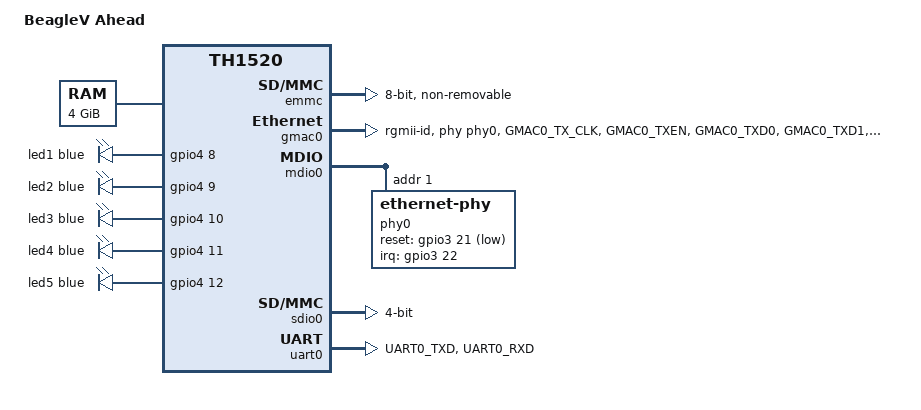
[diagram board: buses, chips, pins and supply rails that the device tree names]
// SPDX-License-Identifier: (GPL-2.0 OR MIT)
/*
 * Copyright (C) 2023 Jisheng Zhang <jszhang@kernel.org>
 * Copyright (C) 2023 Drew Fustini <dfustini@baylibre.com>
 */

/dts-v1/;

#include "th1520.dtsi"
#include <dt-bindings/gpio/gpio.h>
#include <dt-bindings/leds/common.h>

/ {
	model = "BeagleV Ahead";
	compatible = "beagle,beaglev-ahead", "thead,th1520";

	aliases {
		ethernet0 = &gmac0;
		gpio0 = &gpio0;
		gpio1 = &gpio1;
		gpio2 = &gpio2;
		gpio3 = &gpio3;
		gpio4 = &gpio4;
		gpio5 = &aogpio;
		serial0 = &uart0;
		serial1 = &uart1;
		serial2 = &uart2;
		serial3 = &uart3;
		serial4 = &uart4;
		serial5 = &uart5;
		spi0 = &spi0;
	};

	chosen {
		stdout-path = "serial0:115200n8";
	};

	memory@0 {
		device_type = "memory";
		reg = <0x0  0x00000000  0x1 0x00000000>;
	};

	leds {
		pinctrl-names = "default";
		pinctrl-0 = <&led_pins>;
		compatible = "gpio-leds";

		led-1 {
			gpios = <&gpio4 8 GPIO_ACTIVE_HIGH>;
			color = <LED_COLOR_ID_BLUE>;
			label = "led1";
		};

		led-2 {
			gpios = <&gpio4 9 GPIO_ACTIVE_HIGH>;
			color = <LED_COLOR_ID_BLUE>;
			label = "led2";
		};

		led-3 {
			gpios = <&gpio4 10 GPIO_ACTIVE_HIGH>;
			color = <LED_COLOR_ID_BLUE>;
			label = "led3";
		};

		led-4 {
			gpios = <&gpio4 11 GPIO_ACTIVE_HIGH>;
			color = <LED_COLOR_ID_BLUE>;
			label = "led4";
		};

		led-5 {
			gpios = <&gpio4 12 GPIO_ACTIVE_HIGH>;
			color = <LED_COLOR_ID_BLUE>;
			label = "led5";
		};
	};
};

&osc {
	clock-frequency = <24000000>;
};

&osc_32k {
	clock-frequency = <32768>;
};

&dmac0 {
	status = "okay";
};

&emmc {
	bus-width = <8>;
	max-frequency = <198000000>;
	mmc-hs400-1_8v;
	non-removable;
	no-sdio;
	no-sd;
	status = "okay";
};

&gmac0 {
	pinctrl-names = "default";
	pinctrl-0 = <&gmac0_pins>;
	phy-handle = <&phy0>;
	phy-mode = "rgmii-id";
	status = "okay";
};

&mdio0 {
	phy0: ethernet-phy@1 {
		reg = <1>;
		interrupt-parent = <&gpio3>;
		interrupts = <22 IRQ_TYPE_LEVEL_LOW>;
		reset-gpios = <&gpio3 21 GPIO_ACTIVE_LOW>;
		reset-delay-us = <10000>;
		reset-post-delay-us = <50000>;
	};
};

&padctrl_aosys {
	led_pins: led-0 {
		led-pins {
			pins = "AUDIO_PA8",  /* GPIO4_8 */
			       "AUDIO_PA9",  /* GPIO4_9 */
			       "AUDIO_PA10", /* GPIO4_10 */
			       "AUDIO_PA11", /* GPIO4_11 */
			       "AUDIO_PA12"; /* GPIO4_12 */
			bias-disable;
			drive-strength = <3>;
			input-disable;
			input-schmitt-disable;
			slew-rate = <0>;
		};
	};
};

&padctrl0_apsys {
	gmac0_pins: gmac0-0 {
		tx-pins {
			pins = "GMAC0_TX_CLK",
			       "GMAC0_TXEN",
			       "GMAC0_TXD0",
			       "GMAC0_TXD1",
			       "GMAC0_TXD2",
			       "GMAC0_TXD3";
			function = "gmac0";
			bias-disable;
			drive-strength = <25>;
			input-disable;
			input-schmitt-disable;
			slew-rate = <0>;
		};

		rx-pins {
			pins = "GMAC0_RX_CLK",
			       "GMAC0_RXDV",
			       "GMAC0_RXD0",
			       "GMAC0_RXD1",
			       "GMAC0_RXD2",
			       "GMAC0_RXD3";
			function = "gmac0";
			bias-disable;
			drive-strength = <1>;
			input-enable;
			input-schmitt-disable;
			slew-rate = <0>;
		};

		mdc-pins {
			pins = "GMAC0_MDC";
			function = "gmac0";
			bias-disable;
			drive-strength = <13>;
			input-disable;
			input-schmitt-disable;
			slew-rate = <0>;
		};

		mdio-pins {
			pins = "GMAC0_MDIO";
			function = "gmac0";
			bias-disable;
			drive-strength = <13>;
			input-enable;
			input-schmitt-enable;
			slew-rate = <0>;
		};

		phy-reset-pins {
			pins = "GMAC0_COL"; /* GPIO3_21 */
			bias-disable;
			drive-strength = <3>;
			input-disable;
			input-schmitt-disable;
			slew-rate = <0>;
		};

		phy-interrupt-pins {
			pins = "GMAC0_CRS"; /* GPIO3_22 */
			function = "gpio";
			bias-pull-up;
			drive-strength = <1>;
			input-enable;
			input-schmitt-enable;
			slew-rate = <0>;
		};
	};

	uart0_pins: uart0-0 {
		tx-pins {
			pins = "UART0_TXD";
			function = "uart";
			bias-disable;
			drive-strength = <3>;
			input-disable;
			input-schmitt-disable;
			slew-rate = <0>;
		};

		rx-pins {
			pins = "UART0_RXD";
			function = "uart";
			bias-pull-up;
			drive-strength = <1>;
			input-enable;
			input-schmitt-enable;
			slew-rate = <0>;
		};
	};
};

&sdio0 {
	bus-width = <4>;
	max-frequency = <198000000>;
	status = "okay";
};

&uart0 {
	pinctrl-names = "default";
	pinctrl-0 = <&uart0_pins>;
	status = "okay";
};
